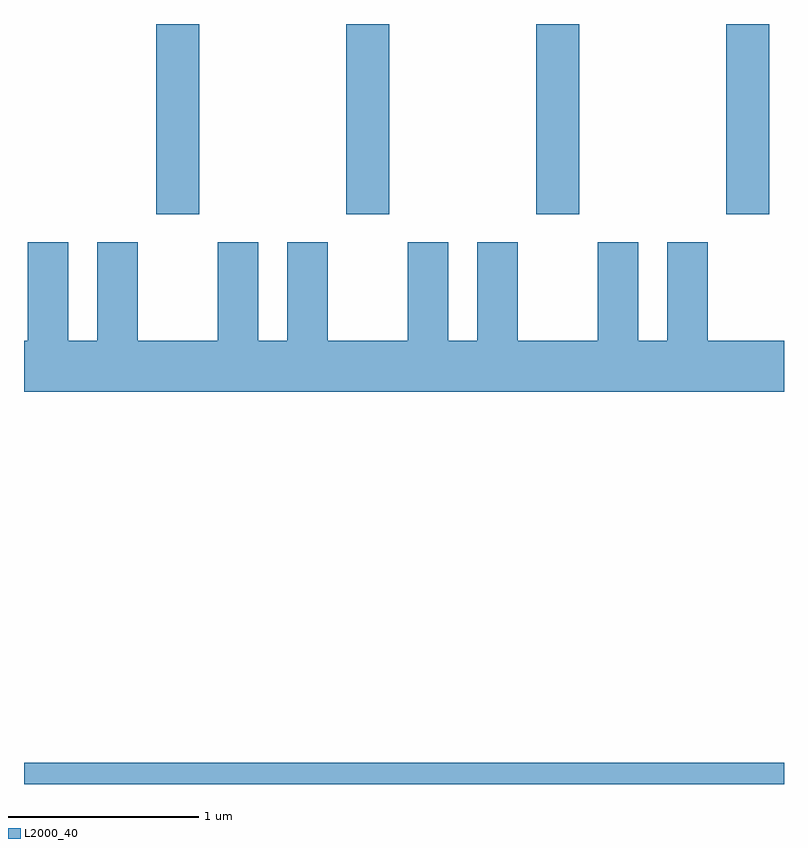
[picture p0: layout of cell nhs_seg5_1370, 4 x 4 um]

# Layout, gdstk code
import gdstk
lib = gdstk.Library(unit=1e-6, precision=1e-09)
def R(c, l, rs):  # rectangles x0, y0, x1, y1
    for r in rs: c.add(gdstk.rectangle(r[:2], r[2:], *l))
def A(c, l, x, y, w, h, nx, ny, dx, dy):  # array of equal rectangles
    R(c, l, [(x+i*dx, y+j*dy, x+i*dx+w, y+j*dy+h) for i in range(nx) for j in range(ny)])
def P(c, l, *ps):  # polygons
    for p in ps: c.add(gdstk.Polygon(p, *l))
L2000_40 = (2000, 40)

nhs_seg5_1370 = lib.new_cell('nhs_seg5_1370')
A(nhs_seg5_1370, L2000_40, 226.306, 1451.071, 0.228, 1.001, 4, 1, 1, 0)
R(nhs_seg5_1370, L2000_40, [(225.611,1448.072,229.611,1448.184)])
P(nhs_seg5_1370, L2000_40, [(229.611,1450.404),(229.209,1450.404),(229.209,1450.924),(228.996,1450.924),(228.996,1450.404),(228.844,1450.404),(228.844,1450.924),(228.631,1450.924),(228.631,1450.404),(228.209,1450.404),(228.209,1450.924),(227.996,1450.924),(227.996,1450.404),(227.844,1450.404),(227.844,1450.924),(227.631,1450.924),(227.631,1450.404),(227.209,1450.404),(227.209,1450.924),(226.996,1450.924),(226.996,1450.404),(226.844,1450.404),(226.844,1450.924),(226.631,1450.924),(226.631,1450.404),(226.209,1450.404),(226.209,1450.924),(225.996,1450.924),(225.996,1450.404),(225.844,1450.404),(225.844,1450.924),(225.631,1450.924),(225.631,1450.404),(225.611,1450.404),(225.611,1450.136),(229.611,1450.136)])

lib.write_gds('nhs_seg5_1370.gds')
